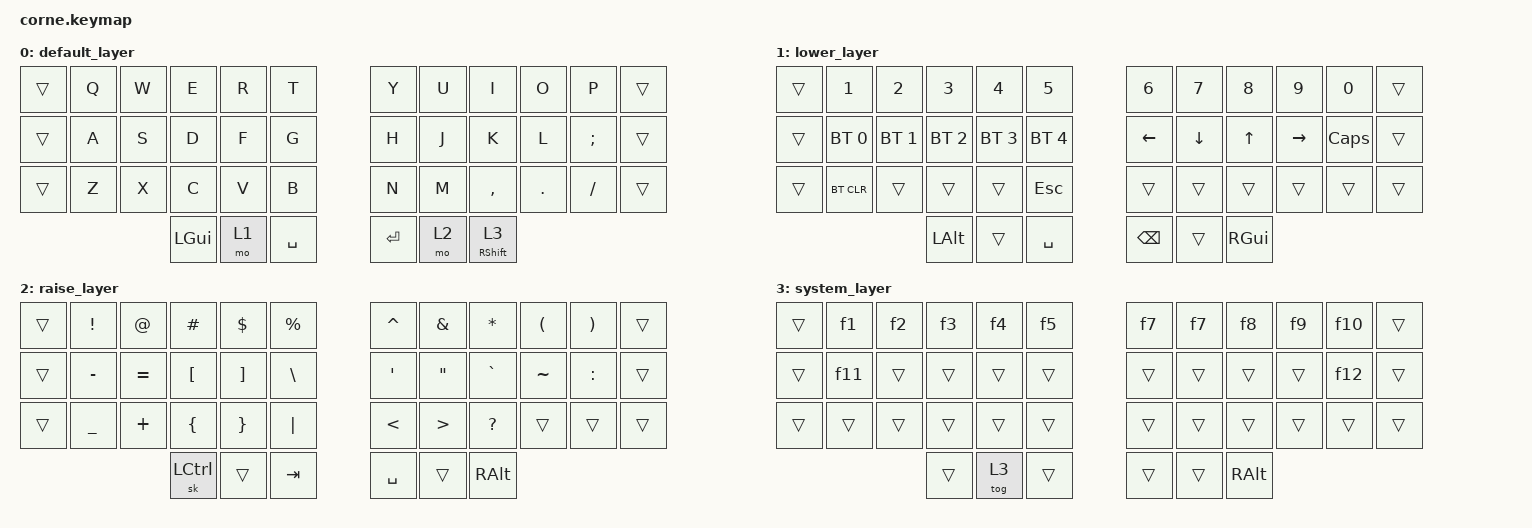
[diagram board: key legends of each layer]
/*
 * Copyright (c) 2020 The ZMK Contributors
 *
 * SPDX-License-Identifier: MIT
 */

#include <behaviors.dtsi>
#include <dt-bindings/zmk/keys.h>
#include <dt-bindings/zmk/bt.h>

/ {
  // UNDERGLOW
  chosen {
    zmk,underglow = &led_strip;
  };

  behaviors {
    sl_tog: shift_layer_toggle {
      compatible = "zmk,behavior-hold-tap";
      #binding-cells = <2>;
      flavor = "hold-preferred";
      tapping-term-ms = <200>;
      bindings = <&kp>, <&tog>;
    };

    // F key functions
    f1: sleep_function {
      compatible = "zmk,behavior-mod-morph";
      #binding-cells = <0>;
      bindings = <&kp F1>, <&kp C_SLEEP>;
      mods = <(MOD_RALT)>;
    };
    f2: lock_function {
      compatible = "zmk,behavior-mod-morph";
      #binding-cells = <0>;
      bindings = <&kp F2>, <&kp C_AL_LOCK>;
      mods = <(MOD_RALT)>;
    };
    f3: logoff_function {
      compatible = "zmk,behavior-mod-morph";
      #binding-cells = <0>;
      bindings = <&kp F3>, <&kp C_AL_LOGOFF>;
      mods = <(MOD_RALT)>;
    };
    f4: pause_function {
      compatible = "zmk,behavior-mod-morph";
      #binding-cells = <0>;
      bindings = <&kp F4>, <&kp C_PAUSE>;
      mods = <(MOD_RALT)>;
    };
    f5: play_function {
      compatible = "zmk,behavior-mod-morph";
      #binding-cells = <0>;
      bindings = <&kp F5>, <&kp C_PLAY>;
      mods = <(MOD_RALT)>;
    };
    f6: next_function {
      compatible = "zmk,behavior-mod-morph";
      #binding-cells = <0>;
      bindings = <&kp F6>, <&kp C_NEXT>;
      mods = <(MOD_RALT)>;
    };
    f7: prev_function {
      compatible = "zmk,behavior-mod-morph";
      #binding-cells = <0>;
      bindings = <&kp F7>, <&kp C_PREV>;
      mods = <(MOD_RALT)>;
    };
    f8: mute_function {
      compatible = "zmk,behavior-mod-morph";
      #binding-cells = <0>;
      bindings = <&kp F8>, <&kp C_MUTE>;
      mods = <(MOD_RALT)>;
    };
    f9: volume_dwn_function {
      compatible = "zmk,behavior-mod-morph";
      #binding-cells = <0>;
      bindings = <&kp F9>, <&kp C_VOL_DN>;
      mods = <(MOD_RALT)>;
    };
    f10: volume_up_function {
      compatible = "zmk,behavior-mod-morph";
      #binding-cells = <0>;
      bindings = <&kp F10>, <&kp C_VOL_UP>;
      mods = <(MOD_RALT)>;
    };
    f11: brightness_dwn_function {
      compatible = "zmk,behavior-mod-morph";
      #binding-cells = <0>;
      bindings = <&kp F11>, <&kp C_BRIGHTNESS_DEC>;
      mods = <(MOD_RALT)>;
    };
    f12: brightness_up_function {
      compatible = "zmk,behavior-mod-morph";
      #binding-cells = <0>;
      bindings = <&kp F12>, <&kp C_BRIGHTNESS_INC>;
      mods = <(MOD_RALT)>;
    };
  };

  keymap {
    compatible = "zmk,keymap";

    default_layer {
      // -------------------------------------------------------------------
      // |  Q  |  W  |  E  |  R  |  T  |   |  Y  |  U   |  I  |  O  |  P  |
      // |  A  |  S  |  D  |  F  |  G  |   |  H  |  J   |  K  |  L  |  ;  |
      // |  Z  |  X  |  C  |  V  |  B  |   |  N  |  M   |  ,  |  .  |  /  |
      //             | GUI | LWR | SPC |   | ENT | RSE  | SHFT |
      bindings = <
        &trans &kp Q &kp W &kp E    &kp R &kp T          &kp Y   &kp U   &kp I     &kp O   &kp P    &trans    
        &trans &kp A &kp S &kp D    &kp F &kp G          &kp H   &kp J   &kp K     &kp L   &kp SEMI &trans
        &trans &kp Z &kp X &kp C    &kp V &kp B          &kp N   &kp M   &kp COMMA &kp DOT &kp FSLH &trans
                           &kp LGUI &mo 1 &kp SPACE      &kp RET &mo 2   &sl_tog RSHFT 3
      >;
    };
    lower_layer {
      // ------------------------------------------------------------------
      // |  1  |  2  |  3  |  4  |  5  |   |  6  |  7  |  8  |  9  |  0  |
      // | BT1 | BT2 | BT3 | BT4 | BT5 |   | LFT | DWN |  UP | RGT | CLCK |
      // | BTC |     |     |     | ESC |   |     |     |     |     |     |
      //             | ALT |     | SPC |   | BKS |     | GUI |
      bindings = <
        &trans &kp N1       &kp N2       &kp N3       &kp N4       &kp N5            &kp N6   &kp N7   &kp N8 &kp N9    &kp N0   &trans
        &trans &bt BT_SEL 0 &bt BT_SEL 1 &bt BT_SEL 2 &bt BT_SEL 3 &bt BT_SEL 4      &kp LEFT &kp DOWN &kp UP &kp RIGHT &kp CLCK &trans
        &trans &bt BT_CLR   &trans       &trans       &trans       &kp ESC           &trans   &trans   &trans &trans    &trans   &trans
                                         &kp LALT     &trans       &kp SPACE         &kp BKSP &trans   &kp RGUI
      >;
    };

    raise_layer {
      // ------------------------------------------------------------------
      // |  !  |  @  |  #  |  $  |  %  |   |  ^  |  &  |  *  |  (  |  )  |
      // |  -  |  =  |  [  |  ]  |  \  |   |  '  |  "  |  `  |  ~  |  :  |
      // |  _  |  +  |  {  |   } |  |  |   |  <  |  >  |  ?  |     |     |
      //             | CTR |     | TAB |   | SPC |     | ALT |
      bindings = <
        &trans &kp EXCL  &kp AT    &kp HASH  &kp DLLR &kp PRCNT        &kp CARET  &kp AMPS &kp ASTRK &kp LPAR  &kp RPAR   &trans
        &trans &kp MINUS &kp EQUAL &kp LBKT  &kp RBKT &kp BSLH         &kp SQT    &kp DQT  &kp GRAVE &kp TILDE &kp COLON  &trans
        &trans &kp UNDER &kp PLUS  &kp LBRC  &kp RBRC &kp PIPE         &kp LT     &kp GT   &kp QMARK &trans    &trans     &trans
                                   &sk LCTRL &trans   &kp TAB          &kp SPACE  &trans   &kp RALT
      >;
    };

    system_layer {
      // ------------------------------------------------------------------------------
      // |  F1  |  F2  |  F3  |  F4  |  F5  |   |  F6   |  F7  |  F8  |  F9  |  F10  |
      // |  F11 |      |      |      |      |   |       |      |      |      |  F12  |
      // |      |      |      |      |      |   |       |      |      |      |       |
      //               |      |      |      |   |       | DFLT |      |
      bindings = <
        &trans &f1      &f2     &f3     &f4     &f5         &f7     &f7     &f8     &f9     &f10   &trans
        &trans &f11     &trans  &trans  &trans  &trans      &trans  &trans  &trans  &trans  &f12   &trans
        &trans &trans   &trans  &trans  &trans  &trans      &trans  &trans  &trans  &trans  &trans &trans
                                &trans  &tog 3  &trans      &trans  &trans   &kp RALT
      >;
    };
  };
};
